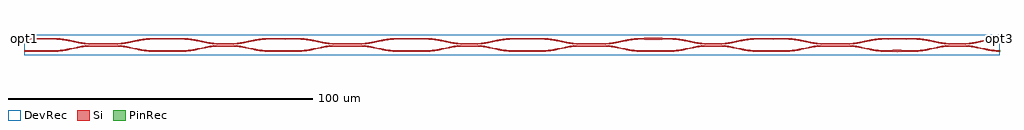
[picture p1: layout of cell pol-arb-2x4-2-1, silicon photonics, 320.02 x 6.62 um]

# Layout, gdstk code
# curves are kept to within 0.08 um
import gdstk
lib = gdstk.Library(unit=1e-6, precision=1e-09)
def R(c, l, rs):  # rectangles x0, y0, x1, y1
    for r in rs: c.add(gdstk.rectangle(r[:2], r[2:], *l))
def P(c, l, *ps):  # polygons
    for p in ps: c.add(gdstk.Polygon(p, *l))
Si = (1, 0)
PinRec = (1, 10)
DevRec = (68, 0)

layer_0_0_phase_sec_0_2 = lib.new_cell('layer-0_0_phase_sec_0$2')
P(layer_0_0_phase_sec_0_2, Si, [(0,-0.225),(0,0.225),(10,0.225),(10,-0.225)])

layer_0_0_phase_sec_1_2 = lib.new_cell('layer-0_0_phase_sec_1$2')
P(layer_0_0_phase_sec_1_2, Si, [(0,-0.225),(0,0.225),(10,0.225),(10,-0.225)])

dc_arm_up_8_2 = lib.new_cell('dc_arm_up_8$2')
R(dc_arm_up_8_2, Si, [(12,0.1,20,0.55)])
P(dc_arm_up_8_2, Si, [(12,0.1),(10.861,0.137),(9.344,0.292),(2.966,1.532),(1.481,1.712),(0,1.775),(0,2.225),(1.139,2.188),(2.656,2.033),(9.034,0.793),(10.519,0.613),(12,0.55)],
  [(20,0.1),(20,0.55),(21.481,0.613),(22.966,0.793),(29.344,2.033),(30.861,2.188),(32,2.225),(32,1.775),(30.519,1.712),(29.034,1.532),(22.656,0.292),(21.139,0.137)])

dc_arm_down_8_2 = lib.new_cell('dc_arm_down_8$2')
R(dc_arm_down_8_2, Si, [(12,-0.55,20,-0.1)])
P(dc_arm_down_8_2, Si, [(0,-2.225),(0,-1.775),(1.481,-1.712),(2.966,-1.532),(9.344,-0.292),(10.861,-0.137),(12,-0.1),(12,-0.55),(10.519,-0.613),(9.034,-0.793),(2.656,-2.033),(1.139,-2.188)],
  [(32,-2.225),(30.861,-2.188),(29.344,-2.033),(22.966,-0.793),(21.481,-0.613),(20,-0.55),(20,-0.1),(21.139,-0.137),(22.656,-0.292),(29.034,-1.532),(30.519,-1.712),(32,-1.775)])

dc_8_2 = lib.new_cell('dc_8$2')
dc_8_2.add(gdstk.Reference(dc_arm_up_8_2, (0,0)))
dc_8_2.add(gdstk.Reference(dc_arm_down_8_2, (0,0)))

layer_0_0_phase_sec_2_2 = lib.new_cell('layer-0_0_phase_sec_2$2')
P(layer_0_0_phase_sec_2_2, Si, [(7.179,-0.229),(0,-0.225),(0,0.225),(10,0.225),(10,-0.225)])

layer_0_0_phase_sec_3_2 = lib.new_cell('layer-0_0_phase_sec_3$2')
P(layer_0_0_phase_sec_3_2, Si, [(4.247,-0.305),(0,-0.225),(0,0.225),(4.247,0.305),(10,0.225),(10,-0.225)])

dc_arm_up_4_2 = lib.new_cell('dc_arm_up_4$2')
R(dc_arm_up_4_2, Si, [(12,0.1,16,0.55)])
P(dc_arm_up_4_2, Si, [(12,0.1),(10.861,0.137),(9.344,0.292),(2.966,1.532),(1.481,1.712),(0,1.775),(0,2.225),(1.139,2.188),(2.656,2.033),(9.034,0.793),(10.519,0.613),(12,0.55)],
  [(16,0.1),(16,0.55),(17.481,0.613),(18.966,0.793),(25.344,2.033),(26.861,2.188),(28,2.225),(28,1.775),(26.519,1.712),(25.034,1.532),(18.656,0.292),(17.139,0.137)])

dc_arm_down_4_2 = lib.new_cell('dc_arm_down_4$2')
R(dc_arm_down_4_2, Si, [(12,-0.55,16,-0.1)])
P(dc_arm_down_4_2, Si, [(0,-2.225),(0,-1.775),(1.481,-1.712),(2.966,-1.532),(9.344,-0.292),(10.861,-0.137),(12,-0.1),(12,-0.55),(10.519,-0.613),(9.034,-0.793),(2.656,-2.033),(1.139,-2.188)],
  [(28,-2.225),(26.861,-2.188),(25.344,-2.033),(18.966,-0.793),(17.481,-0.613),(16,-0.55),(16,-0.1),(17.139,-0.137),(18.656,-0.292),(25.034,-1.532),(26.519,-1.712),(28,-1.775)])

dc_4_2 = lib.new_cell('dc_4$2')
dc_4_2.add(gdstk.Reference(dc_arm_up_4_2, (0,0)))
dc_4_2.add(gdstk.Reference(dc_arm_down_4_2, (0,0)))

layer_1_0_phase_sec_0_2 = lib.new_cell('layer-1_0_phase_sec_0$2')
P(layer_1_0_phase_sec_0_2, Si, [(5.668,-0.238),(0,-0.225),(0,0.225),(10,0.225),(10,-0.225)])

layer_1_0_phase_sec_1_2 = lib.new_cell('layer-1_0_phase_sec_1$2')
P(layer_1_0_phase_sec_1_2, Si, [(0,-0.225),(0,0.225),(10,0.225),(10,-0.225)])

layer_1_0_phase_sec_2_2 = lib.new_cell('layer-1_0_phase_sec_2$2')
P(layer_1_0_phase_sec_2_2, Si, [(0,-0.225),(0,0.225),(10,0.225),(10,-0.225)])

layer_1_0_phase_sec_3_2 = lib.new_cell('layer-1_0_phase_sec_3$2')
P(layer_1_0_phase_sec_3_2, Si, [(2.845,-0.275),(0,-0.225),(0,0.225),(2.845,0.275),(7.112,0.175),(10,0.225),(10,-0.225),(7.112,-0.175)])

layer_2_0_phase_sec_0_2 = lib.new_cell('layer-2_0_phase_sec_0$2')
P(layer_2_0_phase_sec_0_2, Si, [(0,-0.225),(0,0.225),(2.862,0.175),(10,0.225),(10,-0.225),(2.862,-0.175)])

layer_2_0_phase_sec_1_2 = lib.new_cell('layer-2_0_phase_sec_1$2')
P(layer_2_0_phase_sec_1_2, Si, [(4.261,-0.238),(0,-0.225),(0,0.225),(10,0.225),(10,-0.225)])

layer_2_0_phase_sec_2_2 = lib.new_cell('layer-2_0_phase_sec_2$2')
P(layer_2_0_phase_sec_2_2, Si, [(4.311,-0.272),(0,-0.225),(0,0.225),(10,0.225),(10,-0.225)])

layer_2_0_phase_sec_3_2 = lib.new_cell('layer-2_0_phase_sec_3$2')
P(layer_2_0_phase_sec_3_2, Si, [(0,-0.225),(0,0.225),(10,0.225),(10,-0.225)])

layer_3_0_phase_sec_0_2 = lib.new_cell('layer-3_0_phase_sec_0$2')
P(layer_3_0_phase_sec_0_2, Si, [(5.681,-0.237),(0,-0.225),(0,0.225),(10,0.225),(10,-0.225)])

layer_3_0_phase_sec_1_2 = lib.new_cell('layer-3_0_phase_sec_1$2')
P(layer_3_0_phase_sec_1_2, Si, [(0,-0.225),(0,0.225),(10,0.225),(10,-0.225)])

layer_3_0_phase_sec_2_2 = lib.new_cell('layer-3_0_phase_sec_2$2')
P(layer_3_0_phase_sec_2_2, Si, [(1.449,-0.241),(0,-0.225),(0,0.225),(10,0.225),(10,-0.225)])

layer_3_0_phase_sec_3_2 = lib.new_cell('layer-3_0_phase_sec_3$2')
P(layer_3_0_phase_sec_3_2, Si, [(4.251,-0.349),(0,-0.225),(0,0.225),(4.251,0.349),(10,0.225),(10,-0.225)])

pol_arb_2x4_2_1 = lib.new_cell('pol-arb-2x4-2-1')
R(pol_arb_2x4_2_1, DevRec, [(0,-1,320,5.621)])
pol_arb_2x4_2_1.add(gdstk.FlexPath([(0.01,4.349),(-0.01,4.349)], 0.45, ends="flush", simple_path=True, layer=1, datatype=10))  # PinRec
pol_arb_2x4_2_1.add(gdstk.FlexPath([(319.99,4.349),(320.01,4.349)], 0.45, ends="flush", simple_path=True, layer=1, datatype=10))  # PinRec
pol_arb_2x4_2_1.add(gdstk.FlexPath([(319.99,0.349),(320.01,0.349)], 0.45, ends="flush", simple_path=True, layer=1, datatype=10))  # PinRec
pol_arb_2x4_2_1.add(gdstk.Reference(layer_0_0_phase_sec_0_2, (0,4.349)))
pol_arb_2x4_2_1.add(gdstk.Reference(layer_0_0_phase_sec_1_2, (0,0.349)))
pol_arb_2x4_2_1.add(gdstk.Reference(dc_8_2, (10,2.349)))
pol_arb_2x4_2_1.add(gdstk.Reference(layer_0_0_phase_sec_2_2, (42,4.349)))
pol_arb_2x4_2_1.add(gdstk.Reference(layer_0_0_phase_sec_3_2, (42,0.349)))
pol_arb_2x4_2_1.add(gdstk.Reference(dc_4_2, (52,2.349)))
pol_arb_2x4_2_1.add(gdstk.Reference(layer_1_0_phase_sec_0_2, (80,4.349)))
pol_arb_2x4_2_1.add(gdstk.Reference(layer_1_0_phase_sec_1_2, (80,0.349)))
pol_arb_2x4_2_1.add(gdstk.Reference(dc_8_2, (90,2.349)))
pol_arb_2x4_2_1.add(gdstk.Reference(layer_1_0_phase_sec_2_2, (122,4.349)))
pol_arb_2x4_2_1.add(gdstk.Reference(layer_1_0_phase_sec_3_2, (122,0.349)))
pol_arb_2x4_2_1.add(gdstk.Reference(dc_4_2, (132,2.349)))
pol_arb_2x4_2_1.add(gdstk.Reference(layer_2_0_phase_sec_0_2, (160,4.349)))
pol_arb_2x4_2_1.add(gdstk.Reference(layer_2_0_phase_sec_1_2, (160,0.349)))
pol_arb_2x4_2_1.add(gdstk.Reference(dc_8_2, (170,2.349)))
pol_arb_2x4_2_1.add(gdstk.Reference(layer_2_0_phase_sec_2_2, (202,4.349)))
pol_arb_2x4_2_1.add(gdstk.Reference(layer_2_0_phase_sec_3_2, (202,0.349)))
pol_arb_2x4_2_1.add(gdstk.Reference(dc_4_2, (212,2.349)))
pol_arb_2x4_2_1.add(gdstk.Reference(layer_3_0_phase_sec_0_2, (240,4.349)))
pol_arb_2x4_2_1.add(gdstk.Reference(layer_3_0_phase_sec_1_2, (240,0.349)))
pol_arb_2x4_2_1.add(gdstk.Reference(dc_8_2, (250,2.349)))
pol_arb_2x4_2_1.add(gdstk.Reference(layer_3_0_phase_sec_2_2, (282,4.349)))
pol_arb_2x4_2_1.add(gdstk.Reference(layer_3_0_phase_sec_3_2, (282,0.349)))
pol_arb_2x4_2_1.add(gdstk.Reference(dc_4_2, (292,2.349)))
pol_arb_2x4_2_1.add(gdstk.Label('opt1', (0,4.349), layer=1, texttype=10))
pol_arb_2x4_2_1.add(gdstk.Label('opt3', (320,4.349), layer=1, texttype=10))
pol_arb_2x4_2_1.add(gdstk.Label('opt4', (320,0.349), layer=1, texttype=10))

lib.write_gds('pol-arb-2x4-2-1.gds')
